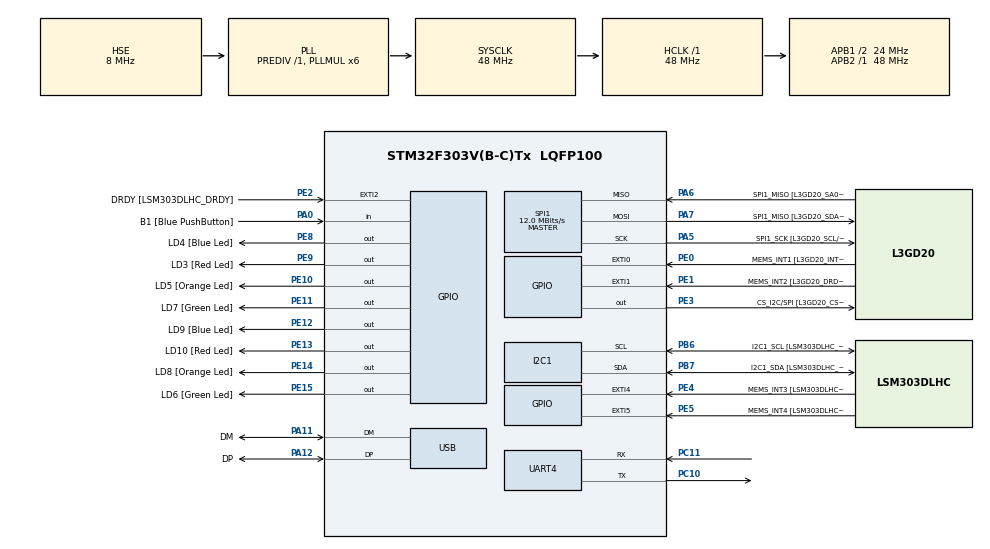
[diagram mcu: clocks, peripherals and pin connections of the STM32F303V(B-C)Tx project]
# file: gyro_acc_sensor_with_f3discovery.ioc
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I2C1.Timing=0x2000090E
I2C1.Timing-I2C=0x2000090E
Mcu.Family=STM32F3
Mcu.Name=STM32F303V(B-C)Tx
Mcu.Package=LQFP100
NVIC.PriorityGroup=NVIC_PRIORITYGROUP_0
PA0.GPIO_Label=B1 [Blue PushButton]
PA0.Signal=GPIO_Input
PA11.GPIO_Label=DM
PA11.Mode=Device
PA11.Signal=USB_DM
PA12.GPIO_Label=DP
PA12.Mode=Device
PA12.Signal=USB_DP
PA13.GPIO_Label=SWDIO
PA13.Mode=Serial_Wire
PA13.Signal=SYS_JTMS-SWDIO
PA14.GPIO_Label=SWCLK
PA14.Mode=Serial_Wire
PA14.Signal=SYS_JTCK-SWCLK
PA5.GPIO_Label=SPI1_SCK [L3GD20_SCL/SPC]
PA5.Mode=Full_Duplex_Master
PA5.Signal=SPI1_SCK
PA6.GPIO_Label=SPI1_MISO [L3GD20_SA0/SDO]
PA6.Mode=Full_Duplex_Master
PA6.Signal=SPI1_MISO
PA7.GPIO_Label=SPI1_MISO [L3GD20_SDA/SDI/SDO]
PA7.Mode=Full_Duplex_Master
PA7.Signal=SPI1_MOSI
PB3.GPIO_Label=SWO
PB3.Signal=SYS_JTDO-TRACESWO
PB6.GPIO_Label=I2C1_SCL [LSM303DLHC_SCL]
PB6.GPIO_Pu=GPIO_PULLUP
PB6.Mode=I2C
PB6.Signal=I2C1_SCL
PB7.GPIO_Label=I2C1_SDA [LSM303DLHC_SDA]
PB7.GPIO_Pu=GPIO_PULLUP
PB7.Mode=I2C
PB7.Signal=I2C1_SDA
PC10.Mode=Asynchronous
PC10.Signal=UART4_TX
PC11.Mode=Asynchronous
PC11.Signal=UART4_RX
PC14-OSC32_IN.GPIO_Label=OSC32_IN
PC14-OSC32_IN.Signal=RCC_OSC32_IN
PC15-OSC32_OUT.GPIO_Label=OSC32_OUT
PC15-OSC32_OUT.Signal=RCC_OSC32_OUT
PE0.GPIO_Label=MEMS_INT1 [L3GD20_INT1]
PE0.GPIO_ModeDefaultEXTI=GPIO_MODE_EVT_RISING
PE0.Signal=GPXTI0
PE1.GPIO_Label=MEMS_INT2 [L3GD20_DRDY/INT2]
PE1.GPIO_ModeDefaultEXTI=GPIO_MODE_EVT_RISING
PE1.Signal=GPXTI1
PE10.GPIO_Label=LD5 [Orange Led]
PE10.Signal=GPIO_Output
PE11.GPIO_Label=LD7 [Green Led]
PE11.Signal=GPIO_Output
PE12.GPIO_Label=LD9 [Blue Led]
PE12.Signal=GPIO_Output
PE13.GPIO_Label=LD10 [Red Led]
PE13.Signal=GPIO_Output
PE14.GPIO_Label=LD8 [Orange Led]
PE14.Signal=GPIO_Output
PE15.GPIO_Label=LD6 [Green Led]
PE15.Signal=GPIO_Output
PE2.GPIO_Label=DRDY [LSM303DLHC_DRDY]
PE2.GPIO_ModeDefaultEXTI=GPIO_MODE_EVT_RISING
PE2.Signal=GPXTI2
PE3.GPIO_Label=CS_I2C/SPI [L3GD20_CS_I2C/SPI]
PE3.Signal=GPIO_Output
PE4.GPIO_Label=MEMS_INT3 [LSM303DLHC_INT1]
PE4.GPIO_ModeDefaultEXTI=GPIO_MODE_EVT_RISING
PE4.Signal=GPXTI4
PE5.GPIO_Label=MEMS_INT4 [LSM303DLHC_INT2]
PE5.GPIO_ModeDefaultEXTI=GPIO_MODE_EVT_RISING
PE5.Signal=GPXTI5
PE8.GPIO_Label=LD4 [Blue Led]
PE8.Signal=GPIO_Output
PE9.GPIO_Label=LD3 [Red Led]
PE9.Signal=GPIO_Output
PF0-OSC_IN.GPIO_Label=OSC_IN
PF0-OSC_IN.Mode=HSE-External-Clock-Source
PF0-OSC_IN.Signal=RCC_OSC_IN
PF1-OSC_OUT.GPIO_Label=OSC_OUT
PF1-OSC_OUT.Signal=RCC_OSC_OUT
ProjectManager.HeapSize=0x200
ProjectManager.StackSize=0x400
ProjectManager.TargetToolchain=STM32CubeIDE
RCC.AHBFreq_Value=48000000
RCC.APB1CLKDivider=RCC_HCLK_DIV2
RCC.APB1Freq_Value=24000000
RCC.APB1TimFreq_Value=48000000
RCC.APB2Freq_Value=48000000
RCC.APB2TimFreq_Value=48000000
RCC.CortexFreq_Value=48000000
RCC.HCLKFreq_Value=48000000
RCC.HSE_VALUE=8000000
RCC.HSI_VALUE=8000000
RCC.LSE_VALUE=32768
RCC.PLLMUL=RCC_PLL_MUL6
RCC.SYSCLKFreq_VALUE=48000000
RCC.SYSCLKSourceVirtual=RCC_SYSCLKSOURCE_PLLCLK
RCC.USBFreq_Value=48000000
SPI1.BaudRatePrescaler=SPI_BAUDRATEPRESCALER_4
SPI1.BaudRatePrescaler-Full_Duplex_Master=SPI_BAUDRATEPRESCALER_2
SPI1.CalculateBaudRate=12.0 MBits/s
SPI1.CalculateBaudRate-Full_Duplex_Master=24.0 MBits/s
SPI1.Direction=SPI_DIRECTION_2LINES
SPI1.Mode=SPI_MODE_MASTER
SPI1.Mode-Full_Duplex_Master=SPI_MODE_MASTER
SPI1.VirtualType=VM_MASTER
board=STM32F3DISCOVERY

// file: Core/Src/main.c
/* USER CODE BEGIN Header */
/**
 ******************************************************************************
 * @file           : main.c
 * @brief          : Main program body
 ******************************************************************************
 * @attention
 *
 * Copyright (c) 2025 STMicroelectronics.
 * All rights reserved.
 *
 * This software is licensed under terms that can be found in the LICENSE file
 * in the root directory of this software component.
 * If no LICENSE file comes with this software, it is provided AS-IS.
 *
 ******************************************************************************
 */
/* USER CODE END Header */
#include "main.h"

/* USER CODE BEGIN Includes */
#include <string.h>
/* USER CODE END Includes */

I2C_HandleTypeDef hi2c1;

SPI_HandleTypeDef hspi1;

UART_HandleTypeDef huart4;

PCD_HandleTypeDef hpcd_USB_FS;

/* USER CODE BEGIN PV */
uint8_t DemoIndex = 0;

BSP_DemoTypedef BSP_examples[] = {

{ ACCELERO_MEMS_Test, "LSM303DLHC/LSM303AGR", 0 },

{ GYRO_MEMS_Test, "L3GD20/I3G4250D", 1 },

};
__IO uint8_t UserPressButton = 0;

/* Counter for User button presses*/

__IO uint32_t PressCount = 0;

uint8_t txBuffer[100];

/* USER CODE END PV */

void SystemClock_Config(void);
static void MX_GPIO_Init(void);
static void MX_I2C1_Init(void);
static void MX_SPI1_Init(void);
static void MX_USB_PCD_Init(void);
static void MX_UART4_Init(void);

int main(void) {

	/* MCU Configuration--------------------------------------------------------*/

	/* Reset of all peripherals, Initializes the Flash interface and the Systick. */
	HAL_Init();

	/* Configure the system clock */
	SystemClock_Config();

	/* Initialize all configured peripherals */
	MX_GPIO_Init();
	MX_I2C1_Init();
	MX_SPI1_Init();
	MX_USB_PCD_Init();
	MX_UART4_Init();
	/* USER CODE BEGIN 2 */
	/* Initialize LEDs and User_Button on STM32F3-Discovery ------------------*/
	BSP_LED_Init(LED4);

	BSP_LED_Init(LED3);

	BSP_LED_Init(LED5);

	BSP_LED_Init(LED7);

	BSP_LED_Init(LED9);

	BSP_LED_Init(LED10);

	BSP_LED_Init(LED8);

	BSP_LED_Init(LED6);

	BSP_PB_Init(BUTTON_USER, BUTTON_MODE_EXTI);

	while (!UserPressButton)
		Toggle_Leds();

	BSP_LED_Off(LED3);

	BSP_LED_Off(LED4);

	BSP_LED_Off(LED5);

	BSP_LED_Off(LED6);
	  if(BSP_GYRO_Init() != HAL_OK)
	  {
	    /* Initialization Error */
	    Error_Handler();
	  }
	  if(BSP_ACCELERO_Init() != HAL_OK)
	  {
	    /* Initialization Error */
	    Error_Handler();
	  }
	/* USER CODE END 2 */

	/* Infinite loop */
	/* USER CODE BEGIN WHILE */
	while (1) {
		float Gyro_buffer[3];
		int16_t Acc_buffer[3] = { 0 };
		BSP_GYRO_GetXYZ(Gyro_buffer);
		BSP_ACCELERO_GetXYZ(Acc_buffer);
	    int len = snprintf((char *)txBuffer, sizeof(txBuffer),
	                       "Gyro: %+07.2f %+07.2f %+07.2f | Acc: %+06d %+06d %+06d\r\n",
	                       Gyro_buffer[0], Gyro_buffer[1], Gyro_buffer[2],
	                       Acc_buffer[0], Acc_buffer[1], Acc_buffer[2]);

	    // 문자열 끝을 명확히 하기 위해 마지막 바이트에 NULL 추가
	    txBuffer[sizeof(txBuffer) - 1] = '\0';
		HAL_UART_Transmit(&huart4, txBuffer, strlen((char*) txBuffer),
				HAL_MAX_DELAY);

		/* USER CODE END WHILE */

	}
}

void SystemClock_Config(void) {
	RCC_OscInitTypeDef RCC_OscInitStruct = { 0 };
	RCC_ClkInitTypeDef RCC_ClkInitStruct = { 0 };
	RCC_PeriphCLKInitTypeDef PeriphClkInit = { 0 };

	/** Initializes the RCC Oscillators according to the specified parameters
	 * in the RCC_OscInitTypeDef structure.
	 */
	RCC_OscInitStruct.OscillatorType = RCC_OSCILLATORTYPE_HSI
			| RCC_OSCILLATORTYPE_HSE;
	RCC_OscInitStruct.HSEState = RCC_HSE_BYPASS;
	RCC_OscInitStruct.HSEPredivValue = RCC_HSE_PREDIV_DIV1;
	RCC_OscInitStruct.HSIState = RCC_HSI_ON;
	RCC_OscInitStruct.HSICalibrationValue = RCC_HSICALIBRATION_DEFAULT;
	RCC_OscInitStruct.PLL.PLLState = RCC_PLL_ON;
	RCC_OscInitStruct.PLL.PLLSource = RCC_PLLSOURCE_HSE;
	RCC_OscInitStruct.PLL.PLLMUL = RCC_PLL_MUL6;
	if (HAL_RCC_OscConfig(&RCC_OscInitStruct) != HAL_OK) {
		Error_Handler();
	}

	/** Initializes the CPU, AHB and APB buses clocks
	 */
	RCC_ClkInitStruct.ClockType = RCC_CLOCKTYPE_HCLK | RCC_CLOCKTYPE_SYSCLK
			| RCC_CLOCKTYPE_PCLK1 | RCC_CLOCKTYPE_PCLK2;
	RCC_ClkInitStruct.SYSCLKSource = RCC_SYSCLKSOURCE_PLLCLK;
	RCC_ClkInitStruct.AHBCLKDivider = RCC_SYSCLK_DIV1;
	RCC_ClkInitStruct.APB1CLKDivider = RCC_HCLK_DIV2;
	RCC_ClkInitStruct.APB2CLKDivider = RCC_HCLK_DIV1;

	if (HAL_RCC_ClockConfig(&RCC_ClkInitStruct, FLASH_LATENCY_1) != HAL_OK) {
		Error_Handler();
	}
	PeriphClkInit.PeriphClockSelection = RCC_PERIPHCLK_USB | RCC_PERIPHCLK_UART4
			| RCC_PERIPHCLK_I2C1;
	PeriphClkInit.Uart4ClockSelection = RCC_UART4CLKSOURCE_PCLK1;
	PeriphClkInit.I2c1ClockSelection = RCC_I2C1CLKSOURCE_HSI;
	PeriphClkInit.USBClockSelection = RCC_USBCLKSOURCE_PLL;
	if (HAL_RCCEx_PeriphCLKConfig(&PeriphClkInit) != HAL_OK) {
		Error_Handler();
	}
}

static void MX_I2C1_Init(void) {

	hi2c1.Instance = I2C1;
	hi2c1.Init.Timing = 0x2000090E;
	hi2c1.Init.OwnAddress1 = 0;
	hi2c1.Init.AddressingMode = I2C_ADDRESSINGMODE_7BIT;
	hi2c1.Init.DualAddressMode = I2C_DUALADDRESS_DISABLE;
	hi2c1.Init.OwnAddress2 = 0;
	hi2c1.Init.OwnAddress2Masks = I2C_OA2_NOMASK;
	hi2c1.Init.GeneralCallMode = I2C_GENERALCALL_DISABLE;
	hi2c1.Init.NoStretchMode = I2C_NOSTRETCH_DISABLE;
	if (HAL_I2C_Init(&hi2c1) != HAL_OK) {
		Error_Handler();
	}

	/** Configure Analogue filter
	 */
	if (HAL_I2CEx_ConfigAnalogFilter(&hi2c1, I2C_ANALOGFILTER_ENABLE)
			!= HAL_OK) {
		Error_Handler();
	}

	/** Configure Digital filter
	 */
	if (HAL_I2CEx_ConfigDigitalFilter(&hi2c1, 0) != HAL_OK) {
		Error_Handler();
	}

}

static void MX_SPI1_Init(void) {

	/* SPI1 parameter configuration*/
	hspi1.Instance = SPI1;
	hspi1.Init.Mode = SPI_MODE_MASTER;
	hspi1.Init.Direction = SPI_DIRECTION_2LINES;
	hspi1.Init.DataSize = SPI_DATASIZE_4BIT;
	hspi1.Init.CLKPolarity = SPI_POLARITY_LOW;
	hspi1.Init.CLKPhase = SPI_PHASE_1EDGE;
	hspi1.Init.NSS = SPI_NSS_SOFT;
	hspi1.Init.BaudRatePrescaler = SPI_BAUDRATEPRESCALER_4;
	hspi1.Init.FirstBit = SPI_FIRSTBIT_MSB;
	hspi1.Init.TIMode = SPI_TIMODE_DISABLE;
	hspi1.Init.CRCCalculation = SPI_CRCCALCULATION_DISABLE;
	hspi1.Init.CRCPolynomial = 7;
	hspi1.Init.CRCLength = SPI_CRC_LENGTH_DATASIZE;
	hspi1.Init.NSSPMode = SPI_NSS_PULSE_ENABLE;
	if (HAL_SPI_Init(&hspi1) != HAL_OK) {
		Error_Handler();
	}

}

static void MX_UART4_Init(void) {

	huart4.Instance = UART4;
	huart4.Init.BaudRate = 115200;
	huart4.Init.WordLength = UART_WORDLENGTH_8B;
	huart4.Init.StopBits = UART_STOPBITS_1;
	huart4.Init.Parity = UART_PARITY_NONE;
	huart4.Init.Mode = UART_MODE_TX_RX;
	huart4.Init.HwFlowCtl = UART_HWCONTROL_NONE;
	huart4.Init.OverSampling = UART_OVERSAMPLING_16;
	huart4.Init.OneBitSampling = UART_ONE_BIT_SAMPLE_DISABLE;
	huart4.AdvancedInit.AdvFeatureInit = UART_ADVFEATURE_NO_INIT;
	if (HAL_UART_Init(&huart4) != HAL_OK) {
		Error_Handler();
	}

}

static void MX_USB_PCD_Init(void) {

	hpcd_USB_FS.Instance = USB;
	hpcd_USB_FS.Init.dev_endpoints = 8;
	hpcd_USB_FS.Init.speed = PCD_SPEED_FULL;
	hpcd_USB_FS.Init.phy_itface = PCD_PHY_EMBEDDED;
	hpcd_USB_FS.Init.low_power_enable = DISABLE;
	hpcd_USB_FS.Init.battery_charging_enable = DISABLE;
	if (HAL_PCD_Init(&hpcd_USB_FS) != HAL_OK) {
		Error_Handler();
	}

}

static void MX_GPIO_Init(void) {
	GPIO_InitTypeDef GPIO_InitStruct = { 0 };

	/* GPIO Ports Clock Enable */
	__HAL_RCC_GPIOE_CLK_ENABLE();
	__HAL_RCC_GPIOC_CLK_ENABLE();
	__HAL_RCC_GPIOF_CLK_ENABLE();
	__HAL_RCC_GPIOA_CLK_ENABLE();
	__HAL_RCC_GPIOB_CLK_ENABLE();

	/*Configure GPIO pin Output Level */
	HAL_GPIO_WritePin(GPIOE,
			CS_I2C_SPI_Pin | LD4_Pin | LD3_Pin | LD5_Pin | LD7_Pin | LD9_Pin
					| LD10_Pin | LD8_Pin | LD6_Pin, GPIO_PIN_RESET);

	/*Configure GPIO pins : DRDY_Pin MEMS_INT3_Pin MEMS_INT4_Pin MEMS_INT1_Pin
	 MEMS_INT2_Pin */
	GPIO_InitStruct.Pin = DRDY_Pin | MEMS_INT3_Pin | MEMS_INT4_Pin
			| MEMS_INT1_Pin | MEMS_INT2_Pin;
	GPIO_InitStruct.Mode = GPIO_MODE_EVT_RISING;
	GPIO_InitStruct.Pull = GPIO_NOPULL;
	HAL_GPIO_Init(GPIOE, &GPIO_InitStruct);

	/*Configure GPIO pins : CS_I2C_SPI_Pin LD4_Pin LD3_Pin LD5_Pin
	 LD7_Pin LD9_Pin LD10_Pin LD8_Pin
	 LD6_Pin */
	GPIO_InitStruct.Pin = CS_I2C_SPI_Pin | LD4_Pin | LD3_Pin | LD5_Pin | LD7_Pin
			| LD9_Pin | LD10_Pin | LD8_Pin | LD6_Pin;
	GPIO_InitStruct.Mode = GPIO_MODE_OUTPUT_PP;
	GPIO_InitStruct.Pull = GPIO_NOPULL;
	GPIO_InitStruct.Speed = GPIO_SPEED_FREQ_LOW;
	HAL_GPIO_Init(GPIOE, &GPIO_InitStruct);

	/*Configure GPIO pin : B1_Pin */
	GPIO_InitStruct.Pin = B1_Pin;
	GPIO_InitStruct.Mode = GPIO_MODE_INPUT;
	GPIO_InitStruct.Pull = GPIO_NOPULL;
	HAL_GPIO_Init(B1_GPIO_Port, &GPIO_InitStruct);

}

/* USER CODE BEGIN 4 */

void HAL_GPIO_EXTI_Callback(uint16_t GPIO_Pin)

{

	if (USER_BUTTON_PIN == GPIO_Pin)

	{

		while (BSP_PB_GetState(BUTTON_USER) != RESET)
			;

		UserPressButton = 1;

	}

}

void Toggle_Leds(void)

{

	BSP_LED_Toggle(LED3);

	HAL_Delay(100);

	BSP_LED_Toggle(LED4);

	HAL_Delay(100);

	BSP_LED_Toggle(LED6);

	HAL_Delay(100);

	BSP_LED_Toggle(LED8);

	HAL_Delay(100);

	BSP_LED_Toggle(LED10);

	HAL_Delay(100);

	BSP_LED_Toggle(LED9);

	HAL_Delay(100);

	BSP_LED_Toggle(LED7);

	HAL_Delay(100);

	BSP_LED_Toggle(LED5);

	HAL_Delay(100);

}
/* USER CODE END 4 */

void Error_Handler(void) {
	__disable_irq();
	while (1) {
	}
}
